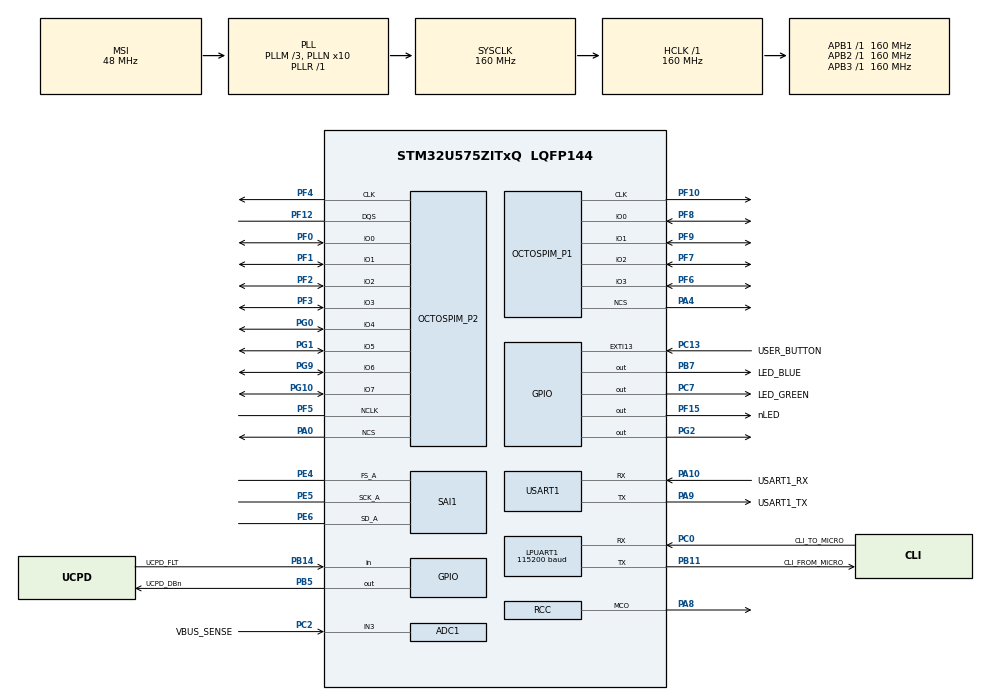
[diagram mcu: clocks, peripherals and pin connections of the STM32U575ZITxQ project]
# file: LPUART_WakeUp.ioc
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ADC1.NbrOfConversion=1
ADC1.Resolution=ADC_RESOLUTION_14B
ADC1.master=1
CORTEX_M33_NS.userName=CORTEX_M33
IWDG.Prescaler=IWDG_PRESCALER_8
LPTIM1.ClockPrescaler=LPTIM_PRESCALER_DIV32
LPUART1.BaudRate=115200
Mcu.Family=STM32U5
Mcu.Name=STM32U575ZITxQ
Mcu.Package=LQFP144
NVIC.IWDG_IRQn=true\:0\:0\:false\:false\:true\:false\:true\:true\:true
NVIC.LPTIM1_IRQn=true\:0\:0\:false\:false\:true\:false\:true\:true\:true
NVIC.LPUART1_IRQn=true\:0\:0\:false\:false\:true\:false\:true\:true\:true
NVIC.PriorityGroup=NVIC_PRIORITYGROUP_3
NVIC.RTC_IRQn=true\:0\:0\:false\:false\:true\:false\:true\:true\:true
NVIC.TIM15_IRQn=true\:7\:0\:false\:false\:true\:false\:false\:true\:true
NVIC.TimeBase=TIM15_IRQn
NVIC.TimeBaseIP=TIM15
PA0.Mode=OCTOSPI2_Port2_NCS
PA0.Signal=OCTOSPIM_P2_NCS
PA10.GPIO_Label=USART1_RX
PA10.GPIO_PuPd=GPIO_PULLDOWN
PA10.GPIO_Speed=GPIO_SPEED_FREQ_VERY_HIGH
PA10.Mode=Asynchronous
PA10.Signal=USART1_RX
PA11.GPIO_Label=USB_OTG_FS_DM
PA11.GPIO_Speed=GPIO_SPEED_FREQ_VERY_HIGH
PA11.Signal=USB_OTG_FS_DM
PA12.GPIO_Label=USB_OTG_FS_DP
PA12.GPIO_Speed=GPIO_SPEED_FREQ_VERY_HIGH
PA12.Signal=USB_OTG_FS_DP
PA13\ (JTMS/SWDIO).Mode=Trace_Asynchronous_SW
PA13\ (JTMS/SWDIO).Signal=DEBUG_JTMS-SWDIO
PA14\ (JTCK/SWCLK).Mode=Trace_Asynchronous_SW
PA14\ (JTCK/SWCLK).Signal=DEBUG_JTCK-SWCLK
PA15\ (JTDI).GPIO_Label=UCPD1_CC1
PA15\ (JTDI).Signal=UCPD1_CC1
PA4.Mode=OCTOSPI1_Port1_NCS
PA4.Signal=OCTOSPIM_P1_NCS
PA8.Mode=Clock-out
PA8.Signal=RCC_MCO
PA9.GPIO_Label=USART1_TX
PA9.GPIO_PuPd=GPIO_PULLDOWN
PA9.GPIO_Speed=GPIO_SPEED_FREQ_VERY_HIGH
PA9.Mode=Asynchronous
PA9.Signal=USART1_TX
PB11.GPIO_Label=CLI_FROM_MICRO
PB11.Mode=Asynchronous
PB11.Signal=LPUART1_TX
PB14.GPIO_Label=UCPD_FLT
PB14.Signal=GPIO_Input
PB15.GPIO_Label=UCPD1_CC2
PB15.Signal=UCPD1_CC2
PB3\ (JTDO/TRACESWO).Mode=Trace_Asynchronous_SW
PB3\ (JTDO/TRACESWO).Signal=DEBUG_JTDO-SWO
PB5.GPIO_Label=UCPD_DBn
PB5.Signal=GPIO_Output
PB7.GPIO_Label=LED_BLUE
PB7.GPIO_ModeDefaultOutputPP=GPIO_MODE_OUTPUT_PP
PB7.GPIO_PuPd=GPIO_PULLUP
PB7.GPIO_Speed=GPIO_SPEED_FREQ_HIGH
PB7.Signal=GPIO_Output
PC0.GPIO_Label=CLI_TO_MICRO
PC0.Mode=Asynchronous
PC0.Signal=LPUART1_RX
PC13.GPIO_Label=USER_BUTTON
PC13.GPIO_ModeDefaultEXTI=GPIO_MODE_IT_FALLING
PC13.Signal=GPXTI13
PC14-OSC32_IN\ (PC14).Mode=LSE-External-Oscillator
PC14-OSC32_IN\ (PC14).Signal=RCC_OSC32_IN
PC15-OSC32_OUT\ (PC15).Mode=LSE-External-Oscillator
PC15-OSC32_OUT\ (PC15).Signal=RCC_OSC32_OUT
PC2.GPIO_Label=VBUS_SENSE
PC2.Mode=IN3-Single-Ended
PC2.Signal=ADC1_IN3
PC7.GPIO_Label=LED_GREEN
PC7.GPIO_PuPd=GPIO_PULLUP
PC7.GPIO_Speed=GPIO_SPEED_FREQ_HIGH
PC7.Signal=GPIO_Output
PE4.Mode=SAI_A_Master
PE4.Signal=SAI1_FS_A
PE5.Mode=SAI_A_Master
PE5.Signal=SAI1_SCK_A
PE6.Mode=SAI_A_Master
PE6.Signal=SAI1_SD_A
PF0.Mode=OCTOSPI2_IOL_Port2L
PF0.Signal=OCTOSPIM_P2_IO0
PF1.Mode=OCTOSPI2_IOL_Port2L
PF1.Signal=OCTOSPIM_P2_IO1
PF10.Mode=O1_P1_CLK
PF10.Signal=OCTOSPIM_P1_CLK
PF12.Mode=OCTOSPI2_Port2_DQS
PF12.Signal=OCTOSPIM_P2_DQS
PF15.GPIO_Label=nLED
PF15.Signal=GPIO_Output
PF2.Mode=OCTOSPI2_IOL_Port2L
PF2.Signal=OCTOSPIM_P2_IO2
PF3.Mode=OCTOSPI2_IOL_Port2L
PF3.Signal=OCTOSPIM_P2_IO3
PF4.Mode=O2_P2_CLK
PF4.Signal=OCTOSPIM_P2_CLK
PF5.Mode=OCTOSPI2_Port2_NCLK
PF5.Signal=OCTOSPIM_P2_NCLK
PF6.Mode=OCTOSPI1_IOL_Port1L
PF6.Signal=OCTOSPIM_P1_IO3
PF7.Mode=OCTOSPI1_IOL_Port1L
PF7.Signal=OCTOSPIM_P1_IO2
PF8.Mode=OCTOSPI1_IOL_Port1L
PF8.Signal=OCTOSPIM_P1_IO0
PF9.Mode=OCTOSPI1_IOL_Port1L
PF9.Signal=OCTOSPIM_P1_IO1
PG0.Mode=OCTOSPI2_IOH_Port2H
PG0.Signal=OCTOSPIM_P2_IO4
PG1.Mode=OCTOSPI2_IOH_Port2H
PG1.Signal=OCTOSPIM_P2_IO5
PG10.Mode=OCTOSPI2_IOH_Port2H
PG10.Signal=OCTOSPIM_P2_IO7
PG2.Signal=GPIO_Output
PG9.Mode=OCTOSPI2_IOH_Port2H
PG9.Signal=OCTOSPIM_P2_IO6
PWR.PowerMode=PWR_LDO_SUPPLY
ProjectManager.HeapSize=0x200
ProjectManager.StackSize=0x400
ProjectManager.TargetToolchain=STM32CubeIDE
RCC.ADCCLockSelection=RCC_ADCDACCLKSOURCE_SYSCLK
RCC.ADCFreq_Value=160000000
RCC.AHBFreq_Value=160000000
RCC.APB1Freq_Value=160000000
RCC.APB1TimFreq_Value=160000000
RCC.APB2Freq_Value=160000000
RCC.APB2TimFreq_Value=160000000
RCC.APB3Freq_Value=160000000
RCC.CortexFreq_Value=160000000
RCC.DACCLockSelectionVirtual=RCC_DAC1CLKSOURCE_LSI
RCC.DACCLockSelectionVirtualString=RCC_DAC1CLKSOURCE_LSI
RCC.EPOD_VALUE=48000000
RCC.EnableCSSLSE=true
RCC.HCLKFreq_Value=160000000
RCC.HSE_VALUE=16000000
RCC.HSI48_VALUE=48000000
RCC.HSI_VALUE=16000000
RCC.LPTIM1CLockSelectionVirtual=RCC_LPTIM1CLKSOURCE_LSI
RCC.LPUART1CLockSelectionVirtual=RCC_LPUART1CLKSOURCE_HSI
RCC.LSIDIV_VALUE=32000
RCC.MSIClockRange=RCC_MSIRANGE_0
RCC.MSIKClockRange=RCC_MSIKRANGE_0
RCC.MSI_VALUE=48000000
RCC.PLL1R=1
RCC.PLL2FRACN=0
RCC.PLL2M=3
RCC.PLL2N=10
RCC.PLL2P=1
RCC.PLLM=3
RCC.PLLN=10
RCC.RCC_MCO1SourceVirtual=RCC_MCO1SOURCE_LSE
RCC.RTCClockSelection=RCC_RTCCLKSOURCE_LSE
RCC.SYSCLKFreq_VALUE=160000000
RCC.SYSCLKSource=RCC_SYSCLKSOURCE_PLLCLK
RCC.USBFreq_Value=48000000
RCC.VCOOutputFreq_Value=160000000
RTC.Alarm-Alarm\ A=RTC_ALARM_A
RTC.WakeUpClock-WakeUp=RTC_WAKEUPCLOCK_CK_SPRE_16BITS
SAI1.ErrorAudioFreq-SAI_A_Master=62.76 %
SAI1.InitProtocol-SAI_A_Master=Enable
SAI1.Instance-SAI_A_Master=SAI$Index_Block_A
SAI1.MckOutput-SAI_A_Master=SAI_MCK_OUTPUT_DISABLE
SAI1.RealAudioFreq-SAI_A_Master=312.5 KHz
SAI1.VirtualMode-SAI_A_Master=VM_MASTER
SAI1.VirtualProtocol-SAI_A_BASIC=VM_BASIC_PROTOCOL
THREADX.TX_LOW_POWER=1
THREADX.TX_LOW_POWER_TICKLESS=0
USART1.VirtualMode-Asynchronous=VM_ASYNC
VP_DCACHE1_VS_DCACHE.Mode=DCACHE_Activate
VP_ICACHE_VS_ICACHE.Mode=DefaultMode
VP_IWDG_VS_IWDG.Mode=IWDG_Activate
VP_LPBAMQUEUE_VS_QUEUE.Mode=QUEUEMODE
VP_LPBAM_VS_SIG1.Mode=SmartRun
VP_LPBAM_VS_SIG4.Mode=LPDMA1
VP_LPTIM1_VS_LPTIM_counterModeInternalClock.Mode=Counts__internal_clock_event_00
VP_OCTOSPI1_VS_quad.Mode=quad_mode
VP_OCTOSPI2_VS_octo.Mode=hyperbus_mode
VP_PWR_VS_DBSignals.Mode=DisableDeadBatterySignals
VP_PWR_VS_LPOM.Mode=PowerOptimisation
VP_PWR_VS_SECSignals.Mode=Security/Privilege
VP_RTC_VS_RTC_Activate.Mode=RTC_Enabled
VP_RTC_VS_RTC_Alarm_A_Intern.Mode=Alarm A
VP_RTC_VS_RTC_Calendar.Mode=RTC_Calendar
VP_RTC_VS_RTC_WakeUp_intern.Mode=WakeUp
VP_SAI1_VP_$IpInstance_SAIA_SAI_BASIC.Mode=SAI_A_BASIC
VP_SYS_VS_tim15.Mode=TIM15
VP_THREADX_VS_RTOSJjThreadXJjCoreJjDefault.Mode=Core_Default
VP_THREADX_VS_RTOSJjThreadXJjLow_Power_Support.Mode=Low_Power_Support
board=NUCLEO-U575ZI-Q

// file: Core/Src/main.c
/* USER CODE BEGIN Header */
/**
 ******************************************************************************
 * @file           : main.c
 * @brief          : Main program body
 ******************************************************************************
 * @attention
 *
 * Copyright (c) 2023 STMicroelectronics.
 * All rights reserved.
 *
 * This software is licensed under terms that can be found in the LICENSE file
 * in the root directory of this software component.
 * If no LICENSE file comes with this software, it is provided AS-IS.
 *
 ******************************************************************************
 */
/* USER CODE END Header */
#include "main.h"
#include "app_threadx.h"
#include "adc.h"
#include "dcache.h"
#include "icache.h"
#include "usart.h"
#include "octospi.h"
#include "rtc.h"
#include "sai.h"
#include "gpio.h"

/* USER CODE BEGIN PV */
char	DBG_msg_buf[ DBG_MSG_LEN ];
/* USER CODE END PV */

void SystemClock_Config(void);
static void SystemPower_Config(void);

int main(void)
{
  /* USER CODE BEGIN 1 */
	HAL_StatusTypeDef	status;

// Software fix for LSERDY never becoming true after software reset
#ifndef REMOVE_RESET_FIX
  HAL_PWR_EnableBkUpAccess();
  __HAL_RCC_BACKUPRESET_FORCE();
  __HAL_RCC_BACKUPRESET_RELEASE();
  CLEAR_BIT(RCC->BDCR, RCC_BDCR_LSEON);
  CLEAR_BIT(RCC->BDCR, RCC_BDCR_LSEBYP);
#endif

  /* USER CODE END 1 */

  /* MCU Configuration--------------------------------------------------------*/

  /* Reset of all peripherals, Initializes the Flash interface and the Systick. */
  HAL_Init();

  /* Configure the system clock */
  SystemClock_Config();

  /* Configure the System Power */
  SystemPower_Config();

  /* Initialize all configured peripherals */
  MX_GPIO_Init();
  MX_ADC1_Init();
  MX_LPUART1_UART_Init();
  MX_USART1_UART_Init();
  MX_RTC_Init();
  MX_OCTOSPI1_Init();
  MX_OCTOSPI2_Init();
  MX_SAI1_Init();
  MX_DCACHE1_Init();
  MX_ICACHE_Init();
  /* USER CODE BEGIN 2 */

  // Need HSI running during STOP2
  __HAL_RCC_WAKEUPSTOP_CLK_CONFIG(RCC_STOP_WAKEUPCLOCK_HSI);
  __HAL_RCC_KERWAKEUPSTOP_CLK_CONFIG(RCC_STOP_KERWAKEUPCLOCK_HSI);

  // Enable LPUART1 in STOP2 mode for autonomous operation
  __HAL_RCC_LPUART1_CLKAM_ENABLE();

  /* Enable the HSI Clock source while in STOP Mode */
  __HAL_RCC_HSISTOP_ENABLE();

  status = HAL_UARTEx_EnableStopMode( &hlpuart1 );
  if( status != HAL_OK )
  {
     Error_Handler();
  }

  /* USER CODE END 2 */

  MX_ThreadX_Init();

  /* We should never get here as control is now taken by the scheduler */
  /* Infinite loop */
	while (1)
	{

	}
}

void SystemClock_Config(void)
{
  RCC_OscInitTypeDef RCC_OscInitStruct = {0};
  RCC_ClkInitTypeDef RCC_ClkInitStruct = {0};

  /** Configure the main internal regulator output voltage
  */
  if (HAL_PWREx_ControlVoltageScaling(PWR_REGULATOR_VOLTAGE_SCALE1) != HAL_OK)
  {
    Error_Handler();
  }

  /** Configure LSE Drive Capability
  */
  HAL_PWR_EnableBkUpAccess();
  __HAL_RCC_LSEDRIVE_CONFIG(RCC_LSEDRIVE_LOW);

  /** Initializes the CPU, AHB and APB buses clocks
  */
  RCC_OscInitStruct.OscillatorType = RCC_OSCILLATORTYPE_HSI|RCC_OSCILLATORTYPE_LSI
                              |RCC_OSCILLATORTYPE_LSE|RCC_OSCILLATORTYPE_MSI;
  RCC_OscInitStruct.LSEState = RCC_LSE_ON;
  RCC_OscInitStruct.HSIState = RCC_HSI_ON;
  RCC_OscInitStruct.HSICalibrationValue = RCC_HSICALIBRATION_DEFAULT;
  RCC_OscInitStruct.LSIState = RCC_LSI_ON;
  RCC_OscInitStruct.MSIState = RCC_MSI_ON;
  RCC_OscInitStruct.MSICalibrationValue = RCC_MSICALIBRATION_DEFAULT;
  RCC_OscInitStruct.MSIClockRange = RCC_MSIRANGE_0;
  RCC_OscInitStruct.LSIDiv = RCC_LSI_DIV1;
  RCC_OscInitStruct.PLL.PLLState = RCC_PLL_ON;
  RCC_OscInitStruct.PLL.PLLSource = RCC_PLLSOURCE_MSI;
  RCC_OscInitStruct.PLL.PLLMBOOST = RCC_PLLMBOOST_DIV4;
  RCC_OscInitStruct.PLL.PLLM = 3;
  RCC_OscInitStruct.PLL.PLLN = 10;
  RCC_OscInitStruct.PLL.PLLP = 2;
  RCC_OscInitStruct.PLL.PLLQ = 2;
  RCC_OscInitStruct.PLL.PLLR = 1;
  RCC_OscInitStruct.PLL.PLLRGE = RCC_PLLVCIRANGE_1;
  RCC_OscInitStruct.PLL.PLLFRACN = 0;
  if (HAL_RCC_OscConfig(&RCC_OscInitStruct) != HAL_OK)
  {
    Error_Handler();
  }

  /** Initializes the CPU, AHB and APB buses clocks
  */
  RCC_ClkInitStruct.ClockType = RCC_CLOCKTYPE_HCLK|RCC_CLOCKTYPE_SYSCLK
                              |RCC_CLOCKTYPE_PCLK1|RCC_CLOCKTYPE_PCLK2
                              |RCC_CLOCKTYPE_PCLK3;
  RCC_ClkInitStruct.SYSCLKSource = RCC_SYSCLKSOURCE_PLLCLK;
  RCC_ClkInitStruct.AHBCLKDivider = RCC_SYSCLK_DIV1;
  RCC_ClkInitStruct.APB1CLKDivider = RCC_HCLK_DIV1;
  RCC_ClkInitStruct.APB2CLKDivider = RCC_HCLK_DIV1;
  RCC_ClkInitStruct.APB3CLKDivider = RCC_HCLK_DIV1;

  if (HAL_RCC_ClockConfig(&RCC_ClkInitStruct, FLASH_LATENCY_4) != HAL_OK)
  {
    Error_Handler();
  }

  /** MCO configuration
  */
  HAL_RCC_MCOConfig(RCC_MCO1, RCC_MCO1SOURCE_LSE, RCC_MCODIV_1);

  /** Enables the Clock Security System
  */
  HAL_RCCEx_EnableLSECSS();
}

/**
  * @brief Power Configuration
  * @retval None
  */
static void SystemPower_Config(void)
{
  HAL_PWREx_EnableVddIO2();

  /*
   * Disable the internal Pull-Up in Dead Battery pins of UCPD peripheral
   */
  HAL_PWREx_DisableUCPDDeadBattery();
}

void HAL_TIM_PeriodElapsedCallback(TIM_HandleTypeDef *htim)
{
  if (htim->Instance == TIM15) {
    HAL_IncTick();
  }
}

void Error_Handler(void)
{
  /* USER CODE BEGIN Error_Handler_Debug */

	GPIO_InitTypeDef GPIO_InitStruct = {0};
	uint32_t			loop;

	/* User can add his own implementation to report the HAL error return state */
	__disable_irq();

	GPIO_InitStruct.Pin = LED_GREEN_Pin;
	GPIO_InitStruct.Mode = GPIO_MODE_OUTPUT_PP;
	GPIO_InitStruct.Pull = GPIO_PULLUP;
	GPIO_InitStruct.Speed = GPIO_SPEED_FREQ_HIGH;
	HAL_GPIO_Init(LED_GREEN_GPIO_Port, &GPIO_InitStruct);

	GPIO_InitStruct.Pin = LED_BLUE_Pin;
	GPIO_InitStruct.Mode = GPIO_MODE_OUTPUT_PP;
	GPIO_InitStruct.Pull = GPIO_PULLUP;
	GPIO_InitStruct.Speed = GPIO_SPEED_FREQ_HIGH;
	HAL_GPIO_Init(LED_BLUE_GPIO_Port, &GPIO_InitStruct);

	GPIO_InitStruct.Pin = nLED_Pin;
	GPIO_InitStruct.Mode = GPIO_MODE_OUTPUT_PP;
	GPIO_InitStruct.Pull = GPIO_PULLUP;
	GPIO_InitStruct.Speed = GPIO_SPEED_FREQ_HIGH;
	HAL_GPIO_Init(nLED_GPIO_Port, &GPIO_InitStruct);

	// BLUE and GREEN are active high, nLED is active low
	HAL_GPIO_WritePin(LED_BLUE_GPIO_Port, LED_BLUE_Pin, GPIO_PIN_SET);

	HAL_GPIO_WritePin(LED_GREEN_GPIO_Port, LED_GREEN_Pin, GPIO_PIN_SET);

	HAL_GPIO_WritePin(nLED_GPIO_Port, nLED_Pin, GPIO_PIN_RESET);

	loop = 0;
	while (1)
	{
		if( loop++ > 1000 )
		{
			HAL_GPIO_TogglePin(LED_BLUE_GPIO_Port, LED_BLUE_Pin );
			HAL_GPIO_TogglePin(LED_GREEN_GPIO_Port, LED_GREEN_Pin );
			HAL_GPIO_TogglePin(nLED_GPIO_Port, nLED_Pin );
			loop = 0;
		}

	}
  /* USER CODE END Error_Handler_Debug */
}
